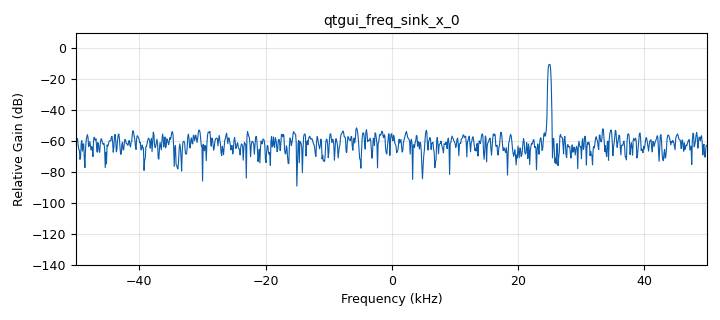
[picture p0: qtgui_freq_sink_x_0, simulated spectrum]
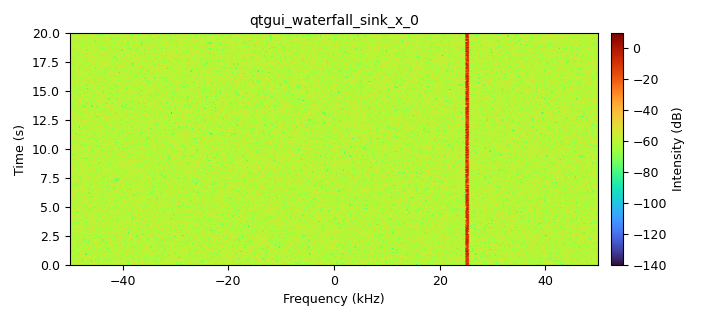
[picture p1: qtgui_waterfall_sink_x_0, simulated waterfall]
options:
  parameters:
    category: Custom
    generate_options: qt_gui
    id: channel_tone_response
    output_language: python
    title: Channel Tone Response
  states: {}

blocks:
- name: K
  id: variable_qtgui_range
  parameters:
    label: K (Rician Factor)
    orient: QtCore.Qt.Orientation.Horizontal
    start: '0'
    step: '.1'
    stop: '30'
    value: '4'
  states: {}
- name: amp
  id: variable_qtgui_range
  parameters:
    label: Sine Amplitude (dB)
    orient: QtCore.Qt.Orientation.Horizontal
    start: '-100'
    step: '1'
    stop: '100'
    value: '0'
  states: {}
- name: cfo
  id: variable_qtgui_range
  parameters:
    label: Frequency Offset
    orient: QtCore.Qt.Orientation.Horizontal
    start: '-20e3'
    step: '1'
    stop: 20e3
    value: '0'
  states: {}
- name: fD
  id: variable_qtgui_range
  parameters:
    label: Max Doppler Frequency (Hz)
    orient: QtCore.Qt.Orientation.Horizontal
    start: '0'
    step: '1'
    stop: '1000'
    value: '125'
  states: {}
- name: fso
  id: variable_qtgui_range
  parameters:
    label: Sampling Frequency Relative Offset
    orient: QtCore.Qt.Orientation.Horizontal
    start: '0.9'
    step: '.001'
    stop: '1.1'
    value: '1.0'
  states: {}
- name: n
  id: variable_qtgui_range
  parameters:
    label: Noise Level (dB)
    orient: QtCore.Qt.Orientation.Horizontal
    start: '-30'
    step: '.5'
    stop: '30'
    value: '-12'
  states: {}
- name: samp_rate
  id: variable
  parameters:
    value: 100e3
  states: {}
- name: analog_sig_source_x_0
  id: analog_sig_source_x
  parameters:
    amp: math.pow(10,amp/10)
    freq: samp_rate/4
    offset: '0'
    phase: '0'
    samp_rate: samp_rate
    type: complex
    waveform: analog.GR_COS_WAVE
  states: {}
- name: blocks_throttle2_0
  id: blocks_throttle2
  parameters:
    samples_per_second: samp_rate
    type: complex
  states: {}
- name: channels_channel_model_0
  id: channels_channel_model
  parameters:
    epsilon: fso
    freq_offset: cfo
    noise_voltage: math.pow(10,n/10.0)
    seed: '0'
    taps: 1.0 + 1.0j
  states: {}
- name: channels_fading_model_0
  id: channels_fading_model
  parameters:
    LOS: 'False'
    N: '8'
    fDTs: fD/samp_rate
    seed: '0'
  states: {}
- name: import_0
  id: import
  parameters:
    imports: import math
  states: {}
- name: qtgui_freq_sink_x_0
  id: qtgui_freq_sink_x
  parameters:
    bw: samp_rate
    fc: '0'
    fftsize: '1024'
    name: ''
    type: complex
  states: {}
- name: qtgui_waterfall_sink_x_0
  id: qtgui_waterfall_sink_x
  parameters:
    bw: samp_rate
    fc: '0'
    fftsize: '1024'
    name: ''
    type: complex
  states: {}

connections:
- [analog_sig_source_x_0, '0', blocks_throttle2_0, '0']
- [blocks_throttle2_0, '0', channels_fading_model_0, '0']
- [channels_channel_model_0, '0', qtgui_freq_sink_x_0, '0']
- [channels_channel_model_0, '0', qtgui_waterfall_sink_x_0, '0']
- [channels_fading_model_0, '0', channels_channel_model_0, '0']

metadata:
  file_format: 1
  grc_version: 3.10.10.0
